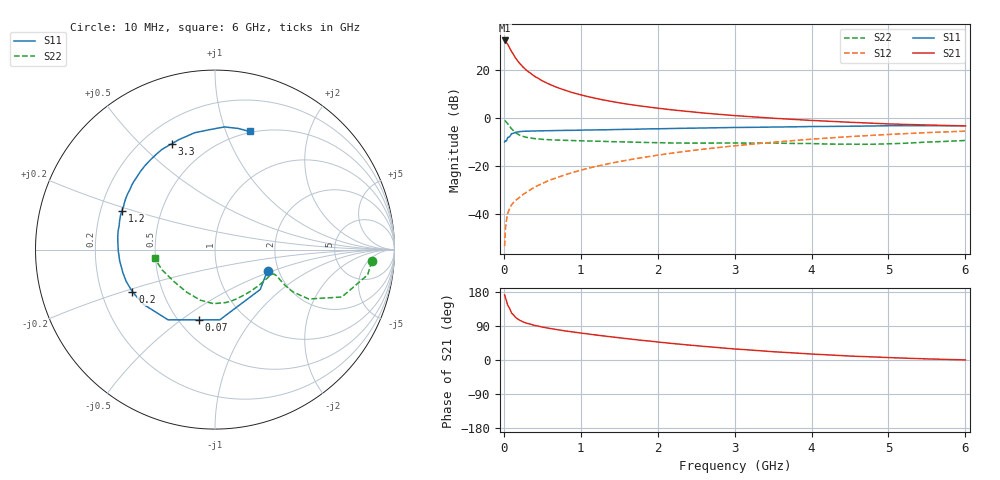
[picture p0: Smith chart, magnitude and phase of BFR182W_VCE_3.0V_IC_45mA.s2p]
! (c) 2017  Infineon Technologies AG, Munich
! Infineon Technologies  Discrete & RF Semiconductors
! BFR182W
! VCE =  3.0 V,  IC =  45 mA
! Common Emitter S-Parameters:  Jan 2017
# GHz  S  MA  R  50
!  f  S11  S21  S12  S22
! GHz  MAG  ANG  MAG  ANG  MAG  ANG  MAG  ANG
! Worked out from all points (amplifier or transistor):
!   77 points, 10 MHz to 6 GHz, reference 50 ohm
!   highest |S21| = 32.0 dB at 10 MHz (marker M1)
!   |S21| within 3 dB of that: start of sweep to 73.59 MHz
!   unconditionally stable (mu >= 1): start of sweep to 12.16 MHz; 273.5 MHz to 2.659 GHz
!   at 130 MHz: K = 0.70, MSG = 30.4 dB, |S12| = -34.9 dB
!   at 2.2 GHz: K = 1.05, MAG = 7.5 dB, |S12| = -14.6 dB
!   at 6 GHz: K = 0.97, MSG = 1.1 dB, |S12| = -5.5 dB
!   S11 on the Smith chart (normalised r, x): 10 MHz: 1.75, -0.46; 70 MHz: 0.63, -0.59; 200 MHz: 0.33, -0.22; 1.2 GHz: 0.29, +0.18; 3.3 GHz: 0.31, +0.63; 6 GHz: 0.49, +1.21
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0.01  0.3152 -21.8  39.98 171.9  0.0022 73.4  0.876 -4.3
0.02  0.3359 -41.4  39.28 164.5  0.0049 71.8  0.862 -9.4
0.05  0.3924 -86.1  33.29 144.6  0.0105 66.4  0.7542 -20.5
0.07  0.4014 -102.7  29.02 138.0  0.0126 63.7  0.6876 -23.0
0.1  0.4706 -123.7  23.65 124.0  0.0158 61.0  0.5909 -27.8
0.15  0.5014 -142.4  17.52 112.7  0.0194 58.1  0.4938 -28.5
0.2  0.517 -152.9  13.71 105.6  0.0222 60.7  0.4427 -27.2
0.25  0.5255 -160.3  11.24 100.5  0.0259 61.4  0.4125 -25.7
0.3  0.529 -165.8  9.465 96.9  0.0291 63.8  0.3922 -24.4
0.4  0.5348 -173.2  7.231 91.2  0.0365 67.3  0.3715 -23.0
0.5  0.5386 -178.9  5.826 86.9  0.0437 69.9  0.3586 -22.6
0.7  0.5461 172.8  4.212 79.9  0.0585 73.4  0.3459 -23.4
0.9  0.5506 165.8  3.298 73.9  0.0741 73.8  0.3379 -25.7
1.1  0.5599 160.0  2.733 68.6  0.0907 74.5  0.3315 -28.8
1.2  0.5625 157.3  2.518 65.9  0.0987 74.5  0.3282 -30.4
1.6  0.5777 147.2  1.93 56.3  0.1326 73.2  0.3163 -38.7
2.1  0.5969 135.8  1.517 45.5  0.1777 70.4  0.3032 -51.8
3.1  0.6328 116.0  1.085 27.8  0.2727 61.7  0.2999 -80.8
3.3  0.6373 112.2  1.032 24.9  0.2922 59.7  0.2993 -86.2
4.1  0.6617 98.4  0.868 14.7  0.3705 51.1  0.2896 -109.4
5.1  0.6851 84.3  0.74 5.7  0.4608 39.2  0.293 -145.7
6  0.6859 73.7  0.679 0.2  0.5297 28.3  0.34 -171.7
